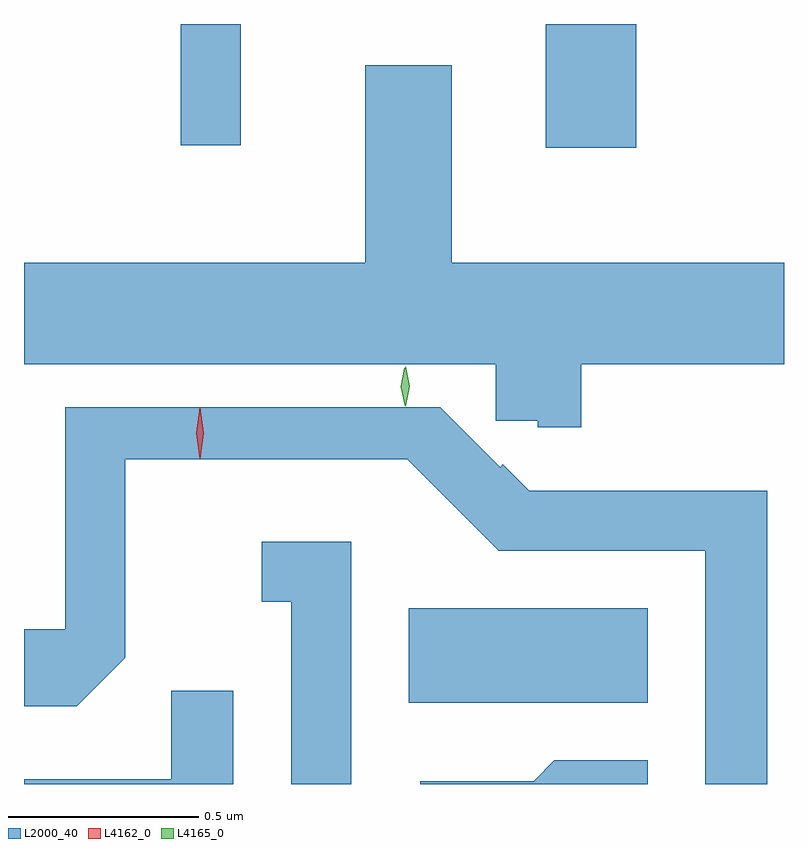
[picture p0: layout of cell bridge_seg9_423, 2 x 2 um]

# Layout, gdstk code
import gdstk
lib = gdstk.Library(unit=1e-6, precision=1e-09)
def R(c, l, rs):  # rectangles x0, y0, x1, y1
    for r in rs: c.add(gdstk.rectangle(r[:2], r[2:], *l))
def P(c, l, *ps):  # polygons
    for p in ps: c.add(gdstk.Polygon(p, *l))
L2000_40 = (2000, 40)
L4162_0 = (4162, 0)
L4165_0 = (4165, 0)

bridge_seg9_423 = lib.new_cell('bridge_seg9_423')
R(bridge_seg9_423, L2000_40, [(653.346,2022.006,653.974,2022.254), (653.706,2023.466,653.944,2023.792), (652.746,2023.473,652.904,2023.792)])
P(bridge_seg9_423, L2000_40, [(653.799,2022.896),(654.333,2022.896),(654.333,2023.164),(653.459,2023.164),(653.459,2023.684),(653.231,2023.684),(653.231,2023.164),(652.333,2023.164),(652.333,2022.896),(653.575,2022.896),(653.575,2022.748),(653.685,2022.748),(653.685,2022.731),(653.799,2022.731)],
  [(654.289,2022.564),(653.662,2022.564),(653.593,2022.633),(653.586,2022.626),(653.429,2022.783),(652.441,2022.783),(652.441,2022.199),(652.333,2022.199),(652.333,2021.996),(652.472,2021.996),(652.599,2022.124),(652.599,2022.646),(653.342,2022.646),(653.582,2022.406),(654.126,2022.406),(654.126,2021.792),(654.289,2021.792)],
  [(653.194,2022.429),(652.958,2022.429),(652.958,2022.271),(653.036,2022.271),(653.036,2021.792),(653.194,2021.792)],
  [(652.884,2022.038),(652.721,2022.038),(652.721,2021.804),(652.333,2021.804),(652.333,2021.792),(652.884,2021.792)],
  [(653.974,2021.854),(653.729,2021.854),(653.674,2021.799),(653.376,2021.799),(653.376,2021.792),(653.974,2021.792)])
P(bridge_seg9_423, L4162_0, [(652.796,2022.651),(652.796,2022.651),(652.786,2022.715),(652.796,2022.78),(652.796,2022.78),(652.797,2022.78),(652.806,2022.715),(652.797,2022.651)],
  [(652.796,2022.647),(652.796,2022.648),(652.786,2022.715),(652.796,2022.783),(652.796,2022.784),(652.797,2022.783),(652.806,2022.715),(652.797,2022.648)])
P(bridge_seg9_423, L4165_0, [(653.337,2022.786),(653.328,2022.838),(653.337,2022.891),(653.337,2022.891),(653.338,2022.891),(653.348,2022.839),(653.338,2022.786),(653.338,2022.786)],
  [(653.335,2022.788),(653.335,2022.789),(653.325,2022.837),(653.334,2022.886),(653.335,2022.887),(653.336,2022.886),(653.345,2022.838),(653.336,2022.789)])

lib.write_gds('bridge_seg9_423.gds')
